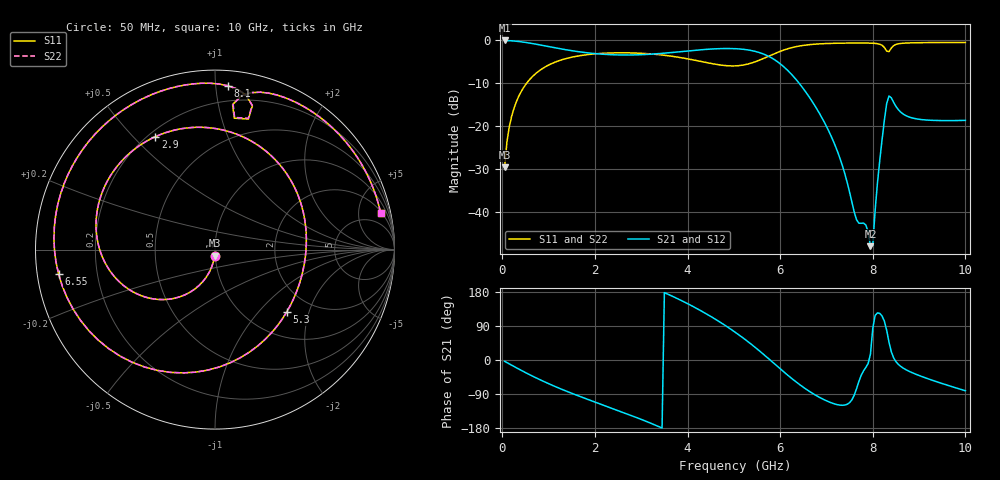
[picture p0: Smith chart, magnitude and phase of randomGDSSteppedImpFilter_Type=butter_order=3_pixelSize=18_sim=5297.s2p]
! freq	dB(S11)	phase(S11)	dB(S12)	phase(S12)
!  dB(S21)	phase(S21)	dB(S22)	phase(S22)
!S-par simulation data
#  GHz  S  DB  R 50
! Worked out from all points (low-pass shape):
!   200 points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, 50 MHz to 10 GHz, reference 50 ohm
!   highest |S21| = -0.01 dB at 50 MHz (marker M1); lowest = -48.0 dB at 7.95 GHz (marker M2)
!   |S21| within 3 dB of the highest: start of sweep to 1.935 GHz; 3.465 GHz to 5.599 GHz (2.134 GHz wide, 47.1 % of centre)
!   lowest |S11| = -29.6 dB at 50 MHz (marker M3), VSWR 1.07, Z = 49.7 - j3.27 ohm
!   |S11| at or under -10 dB: start of sweep to 525.6 MHz
!   |S22| runs from -29.6 to -0.5 dB; largest |S21 - S12| = 0
!   S11 on the Smith chart (normalised r, x): 50 MHz: 0.99, -0.07; 2.9 GHz: 0.23, +0.58; 5.3 GHz: 1.50, -1.44; 6.55 GHz: 0.06, -0.08; 8.1 GHz: 0.09, +1.08; 10 GHz: 2.20, +8.51
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0.05  -29.63 -93.7  -0.01 -3.5  -0.01 -3.5  -29.63 -93.7
0.2  -17.79 -104.1  -0.09 -13.6  -0.09 -13.6  -17.79 -104.1
0.5  -10.36 -123.7  -0.46 -33.1  -0.46 -33.1  -10.36 -123.7
1.05  -5.49 -155.7  -1.54 -65.2  -1.54 -65.2  -5.49 -155.7
1.75  -3.44 169.9  -2.78 -99.6  -2.78 -99.6  -3.44 169.9
2.9  -2.96 117.8  -3.37 -151.8  -3.37 -151.8  -2.96 117.8
3.4  -3.34 93.2  -3.07 -176.8  -3.07 -176.8  -3.34 93.1
4.2  -4.71 46.6  -2.27 135.9  -2.27 135.9  -4.71 46.6
5.05  -5.93 -17.7  -1.94 71.5  -1.94 71.5  -5.93 -17.7
5.3  -5.53 -40.8  -2.21 48.9  -2.21 48.9  -5.52 -40.8
5.65  -4.16 -76.9  -3.22 14.1  -3.22 14.1  -4.16 -76.9
5.95  -2.76 -110.0  -5.03 -17.8  -5.03 -17.8  -2.76 -110.0
6.55  -1.09 -171.2  -11.99 -76.1  -11.99 -76.1  -1.09 -171.2
6.7  -0.92 175.9  -14.38 -88.0  -14.38 -88.0  -0.92 175.9
7.3  -0.64 132.7  -27.78 -119.2  -27.78 -119.2  -0.64 132.7
7.65  -0.60 111.7  -41.86 -75.6  -41.86 -75.6  -0.60 111.7
7.95  -0.63 94.6  -48.00 15.5  -48.00 15.5  -0.63 94.7
8  -0.66 91.7  -47.83 83.3  -47.83 83.3  -0.65 91.8
8.1  -0.76 85.6  -33.38 124.3  -33.38 124.3  -0.76 85.6
8.35  -2.61 81.7  -12.97 47.3  -12.97 47.3  -2.57 81.6
8.75  -0.59 63.3  -17.72 -27.8  -17.72 -27.8  -0.59 63.2
10  -0.49 12.6  -18.66 -81.2  -18.66 -81.2  -0.49 12.5
